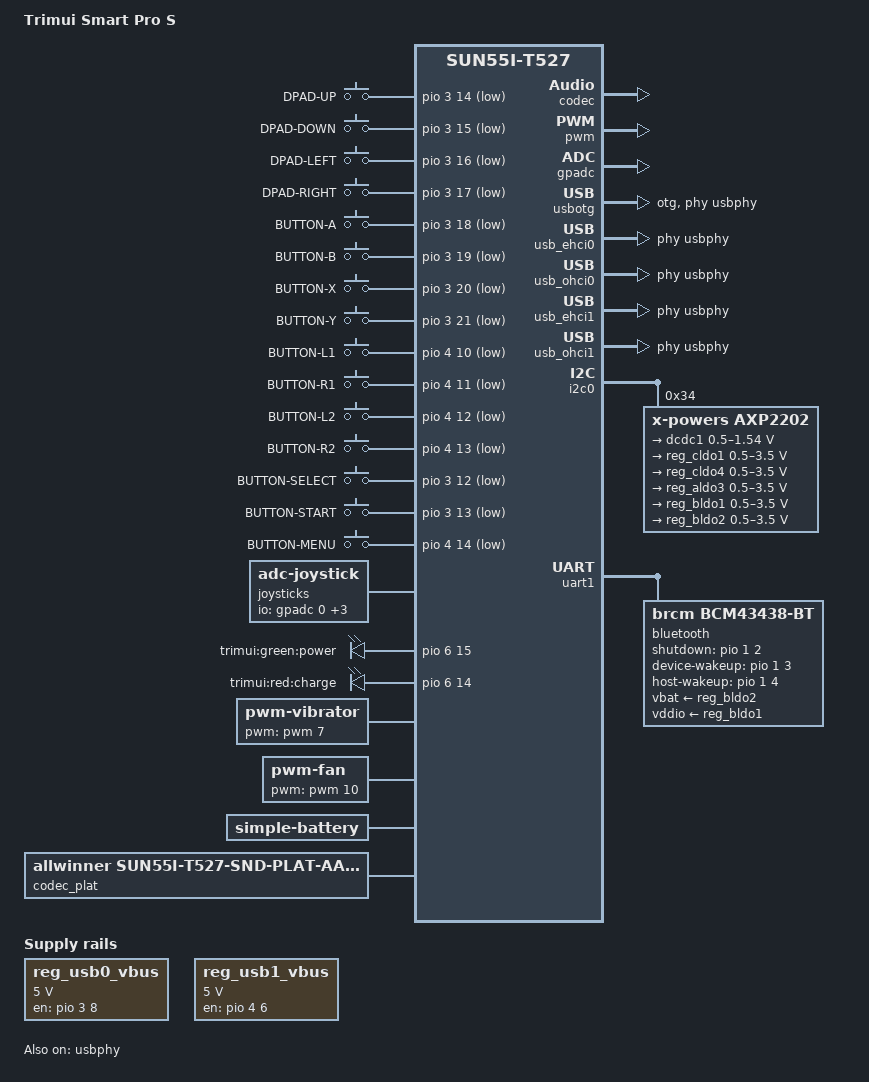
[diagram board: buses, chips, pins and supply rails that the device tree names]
// SPDX-License-Identifier: (GPL-2.0+ OR MIT)
/*
 * Device Tree Source for Trimui Smart Pro S
 * Based on Allwinner T527 (sun55i)
 * Compatible with Linux mainline kernel
 * Copyright (C) 2026 Midgy BALON <midgy971@gmail.com>
 */
 
/dts-v1/;

#include "sun55i-t527.dtsi"

/ {
    model = "Trimui Smart Pro S";
    compatible = "trimui,smart-pro-s", "allwinner,sun55i-t527";

    aliases {
        serial0 = &uart0;
    };

    chosen {
        stdout-path = "serial0:115200n8";
    };

    /* --- GAMEPAD BUTTONS (EVDEV STANDARD) --- */
    gpio-keys {
        compatible = "gpio-keys";
        autorepeat;

        button-up {
            label = "DPAD-UP";
            linux,code = <103>; /* KEY_UP */
            gpios = <&pio 3 14 1>; /* PD14 */
        };

        button-down {
            label = "DPAD-DOWN";
            linux,code = <108>; /* KEY_DOWN */
            gpios = <&pio 3 15 1>; /* PD15 */
        };

        button-left {
            label = "DPAD-LEFT";
            linux,code = <105>; /* KEY_LEFT */
            gpios = <&pio 3 16 1>; /* PD16 */
        };

        button-right {
            label = "DPAD-RIGHT";
            linux,code = <106>; /* KEY_RIGHT */
            gpios = <&pio 3 17 1>; /* PD17 */
        };

        button-a {
            label = "BUTTON-A";
            linux,code = <304>; /* BTN_A */
            gpios = <&pio 3 18 1>; /* PD18 */
        };

        button-b {
            label = "BUTTON-B";
            linux,code = <305>; /* BTN_B */
            gpios = <&pio 3 19 1>; /* PD19 */
        };

        button-x {
            label = "BUTTON-X";
            linux,code = <307>; /* BTN_X */
            gpios = <&pio 3 20 1>; /* PD20 */
        };

        button-y {
            label = "BUTTON-Y";
            linux,code = <308>; /* BTN_Y */
            gpios = <&pio 3 21 1>; /* PD21 */
        };

        button-l1 {
            label = "BUTTON-L1";
            linux,code = <310>; /* BTN_TL */
            gpios = <&pio 4 10 1>; /* PE10 */
        };

        button-r1 {
            label = "BUTTON-R1";
            linux,code = <311>; /* BTN_TR */
            gpios = <&pio 4 11 1>; /* PE11 */
        };

        button-l2 {
            label = "BUTTON-L2";
            linux,code = <312>; /* BTN_TL2 */
            gpios = <&pio 4 12 1>; /* PE12 */
        };

        button-r2 {
            label = "BUTTON-R2";
            linux,code = <313>; /* BTN_TR2 */
            gpios = <&pio 4 13 1>; /* PE13 */
        };

        button-select {
            label = "BUTTON-SELECT";
            linux,code = <314>; /* BTN_SELECT */
            gpios = <&pio 3 12 1>; /* PD12 */
        };

        button-start {
            label = "BUTTON-START";
            linux,code = <315>; /* BTN_START */
            gpios = <&pio 3 13 1>; /* PD13 */
        };

        button-menu {
            label = "BUTTON-MENU";
            linux,code = <139>; /* KEY_MENU */
            gpios = <&pio 4 14 1>; /* PE14 */
        };
    };

/* --- ANALOG JOYSTICKS (GPADC 12-BIT CALIBRATION) --- */
    joysticks {
        compatible = "adc-joystick";
        io-channels = <&gpadc 0>, <&gpadc 1>, <&gpadc 2>, <&gpadc 3>;
        io-channel-names = "joystick-left-x", "joystick-left-y", "joystick-right-x", "joystick-right-y";

        axis-left-x {
            linux,code = <0>; /* ABS_X */
            abs-range = <500 3500>;
            abs-fuzz = <32>;
            abs-flat = <64>;
        };

        axis-left-y {
            linux,code = <1>; /* ABS_Y */
            abs-range = <500 3500>;
            abs-fuzz = <32>;
            abs-flat = <64>;
        };

        axis-right-x {
            linux,code = <3>; /* ABS_RX */
            abs-range = <500 3500>;
            abs-fuzz = <32>;
            abs-flat = <64>;
        };

        axis-right-y {
            linux,code = <4>; /* ABS_RY */
            abs-range = <500 3500>;
            abs-fuzz = <32>;
            abs-flat = <64>;
        };
    };
    /* --- INDICATOR LEDS --- */
    leds {
        compatible = "gpio-leds";

        led_green {
            label = "trimui:green:power";
            gpios = <&pio 6 15 0>; /* PG15 */
            linux,default-trigger = "default-on";
        };

        led_red {
            label = "trimui:red:charge";
            gpios = <&pio 6 14 0>; /* PG14 */
            linux,default-trigger = "battery-charging";
        };
    };

    /* --- HAPTIC VIBRATOR MOTOR --- */
    vibrator {
        compatible = "pwm-vibrator";
        pwms = <&pwm 7 50000 1>;
        pwm-names = "enable";
    };

    /* --- INTERNAL COOLING FAN --- */
    fan: pwm-fan {
        compatible = "pwm-fan";
        pwms = <&pwm 10 40000 1>;
        cooling-min-state = <0>;
        cooling-max-state = <31>;
        #cooling-cells = <2>;
        cooling-levels = <0 1 20 30 40 50 60 70 80 90 100 110 120 130 140 150 160 170 180 190 200 205 210 215 220 225 230 235 240 245 250 255>;
    };

    /* --- USB VBUS FIXED REGULATORS --- */
    reg_usb0_vbus: regulator-usb0-vbus {
        compatible = "regulator-fixed";
        regulator-name = "usb0-vbus";
        regulator-min-microvolt = <5000000>;
        regulator-max-microvolt = <5000000>;
        gpio = <&pio 3 8 0>; /* PD8 */
        enable-active-high;
    };

    reg_usb1_vbus: regulator-usb1-vbus {
        compatible = "regulator-fixed";
        regulator-name = "usb1-vbus";
        regulator-min-microvolt = <5000000>;
        regulator-max-microvolt = <5000000>;
        gpio = <&pio 4 6 0>; /* PE6 */
        enable-active-high;
    };

    /* --- LIPO BATTERY DATA & FUEL GAUGE --- */
    battery: battery-pack {
        compatible = "simple-battery";
        charge-full-design-microamp-hours = <5000000>;
        voltage-min-design-microvolt = <3500000>;
        voltage-max-design-microvolt = <4350000>;

        ocv-capacity-table-0 {
            ocv-microvolt = <4350000 4220000 4100000 3980000 3880000 3800000 3740000 3680000 3620000 3560000 3500000>;
            capacity-percent = <100 90 80 70 60 50 40 30 20 10 0>;
        };
    };

    /* --- MAINLINE ALSA SOUND CARD --- */
    sound {
        compatible = "simple-audio-card";
        simple-audio-card,name = "Trimui-Smart-Pro-Audio";
        simple-audio-card,format = "i2s";
        simple-audio-card,mclk-fs = <256>;

        simple-audio-card,cpu {
            sound-dai = <&codec_plat>;
        };

        simple-audio-card,codec {
            sound-dai = <&codec>;
        };
    };
};

/* ========================================================================== */
/* HARDWARE EXTENSIONS (COMPLIANT WITH 64-BIT ADDRESSING #cells = 2)          */
/* ========================================================================== */

&{/} {
    /* --- VIRTUAL & INTERNAL AUDIO NODES --- */
    codec_plat: codec-plat {
        compatible = "allwinner,sun55i-t527-snd-plat-aaudio", "allwinner,sun50i-a100-codec-plat";
        #sound-dai-cells = <0>;
        status = "okay";
    };

    codec: codec {
        compatible = "allwinner,sun55i-t527-codec", "allwinner,sun50i-a100-codec";
        #sound-dai-cells = <0>;
        status = "okay";
    };

    /* --- HARDWARE PWM CONTROLLER --- */
    pwm: pwm@2000c00 {
        compatible = "allwinner,sun50i-a100-pwm";
        reg = <0x00 0x02000c00 0x00 0x400>;
        #pwm-cells = <3>;
        status = "okay";
    };

    /* --- GENERAL PURPOSE ADC FOR JOYSTICKS --- */
    gpadc: gpadc@2009000 {
        compatible = "allwinner,sun55i-t527-gpadc", "allwinner,sun50i-a100-gpadc";
        reg = <0x00 0x02009000 0x00 0x400>;
        #io-channel-cells = <1>;
        status = "okay";
    };

    /* --- NATIVE MAINLINE USB OTG CONTROLLER --- */
    usbotg: usb@2000000 {
        compatible = "allwinner,sun55i-t527-musb", "allwinner,sun20i-d1-musb";
        reg = <0x00 0x02000000 0x00 0x400>;
        interrupt-parent = <&gic>;
        interrupts = <0 17 4>;
        phys = <&usbphy 0>;
        phy-names = "usb";
        dr_mode = "otg";
        status = "okay";
    };

    /* --- USB HOST PORT 0 (EHCI/OHCI) --- */
    usb_ehci0: usb@2001000 {
        compatible = "allwinner,sun55i-t527-ehci", "generic-ehci";
        reg = <0x00 0x02001000 0x00 0x100>;
        interrupt-parent = <&gic>;
        interrupts = <0 18 4>;
        phys = <&usbphy 0>;
        phy-names = "usb";
        status = "okay";
    };

    usb_ohci0: usb@2001400 {
        compatible = "allwinner,sun55i-t527-ohci", "generic-ohci";
        reg = <0x00 0x02001400 0x00 0x100>;
        interrupt-parent = <&gic>;
        interrupts = <0 19 4>;
        phys = <&usbphy 0>;
        phy-names = "usb";
        status = "okay";
    };

    /* --- USB HOST PORT 1 (EHCI/OHCI) --- */
    usb_ehci1: usb@2002000 {
        compatible = "allwinner,sun55i-t527-ehci", "generic-ehci";
        reg = <0x00 0x02002000 0x00 0x100>;
        interrupt-parent = <&gic>;
        interrupts = <0 20 4>;
        phys = <&usbphy 1>;
        phy-names = "usb";
        status = "okay";
    };

    usb_ohci1: usb@2002400 {
        compatible = "allwinner,sun55i-t527-ohci", "generic-ohci";
        reg = <0x00 0x02002400 0x00 0x100>;
        interrupt-parent = <&gic>;
        interrupts = <0 21 4>;
        phys = <&usbphy 1>;
        phy-names = "usb";
        status = "okay";
    };
};

/* --- I2C0 BUS & PMIC CONFIGURATION --- */
&i2c0 {
    status = "okay";

    axp2202: pmic@34 {
        compatible = "x-powers,axp2202";
        reg = <0x34>;
        interrupt-parent = <&nmi_intc>;
        interrupts = <0 4>;
        wakeup-source;

        regulators {
            dcdc1: dcdc1 {
                regulator-name = "axp2202-dcdc1";
                regulator-min-microvolt = <500000>;
                regulator-max-microvolt = <1540000>;
                regulator-always-on;
                regulator-boot-on;
            };

            reg_cldo1: cldo1 {
                regulator-name = "axp2202-cldo1";
                regulator-min-microvolt = <500000>;
                regulator-max-microvolt = <3500000>;
            };

            reg_cldo4: cldo4 {
                regulator-name = "axp2202-cldo4";
                regulator-min-microvolt = <500000>;
                regulator-max-microvolt = <3500000>;
            };

            reg_aldo3: aldo3 {
                regulator-name = "axp2202-aldo3";
                regulator-min-microvolt = <500000>;
                regulator-max-microvolt = <3500000>;
                regulator-always-on;
                regulator-boot-on;
            };

            reg_bldo1: bldo1 {
                regulator-name = "axp2202-bldo1";
                regulator-min-microvolt = <500000>;
                regulator-max-microvolt = <3500000>;
            };

            reg_bldo2: bldo2 {
                regulator-name = "axp2202-bldo2";
                regulator-min-microvolt = <500000>;
                regulator-max-microvolt = <3500000>;
                regulator-always-on;
                regulator-boot-on;
            };
        };

        battery_power: battery-power {
            compatible = "x-powers,axp2202-battery-power";
            monitored-battery = <&battery>;
            status = "okay";
        };
    };
};

/* --- BLUETOOTH ON UART1 --- */
&uart1 {
    uart-has-rtscts;
    status = "okay";

    bluetooth {
        compatible = "brcm,bcm43438-bt";
        shutdown-gpios = <&pio 1 2 0>;
        device-wakeup-gpios = <&pio 1 3 0>;
        host-wakeup-gpios = <&pio 1 4 0>;
        vbat-supply = <&reg_bldo2>;
        vddio-supply = <&reg_bldo1>;
    };
};

/* --- USB TRANSCEIVER & PHY MAPPING --- */
&usbphy {
    usb0_id_det-gpios = <&pio 7 11 0>;
    usb0_vbus_det-gpios = <&pio 7 10 0>;
    usb0_vbus-supply = <&reg_usb0_vbus>;
    usb1_vbus-supply = <&reg_usb1_vbus>;
    status = "okay";
};

/* --- DYNAMIC VOLTAGE & FREQUENCY SCALING (DVFS) --- */
&{/cpus/cpu@0} { cpu-supply = <&dcdc1>; };
&{/cpus/cpu@100} { cpu-supply = <&dcdc1>; };
&{/cpus/cpu@200} { cpu-supply = <&dcdc1>; };
&{/cpus/cpu@300} { cpu-supply = <&dcdc1>; };
&{/cpus/cpu@400} { cpu-supply = <&dcdc1>; };
&{/cpus/cpu@500} { cpu-supply = <&dcdc1>; };
&{/cpus/cpu@600} { cpu-supply = <&dcdc1>; };
&{/cpus/cpu@700} { cpu-supply = <&dcdc1>; };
